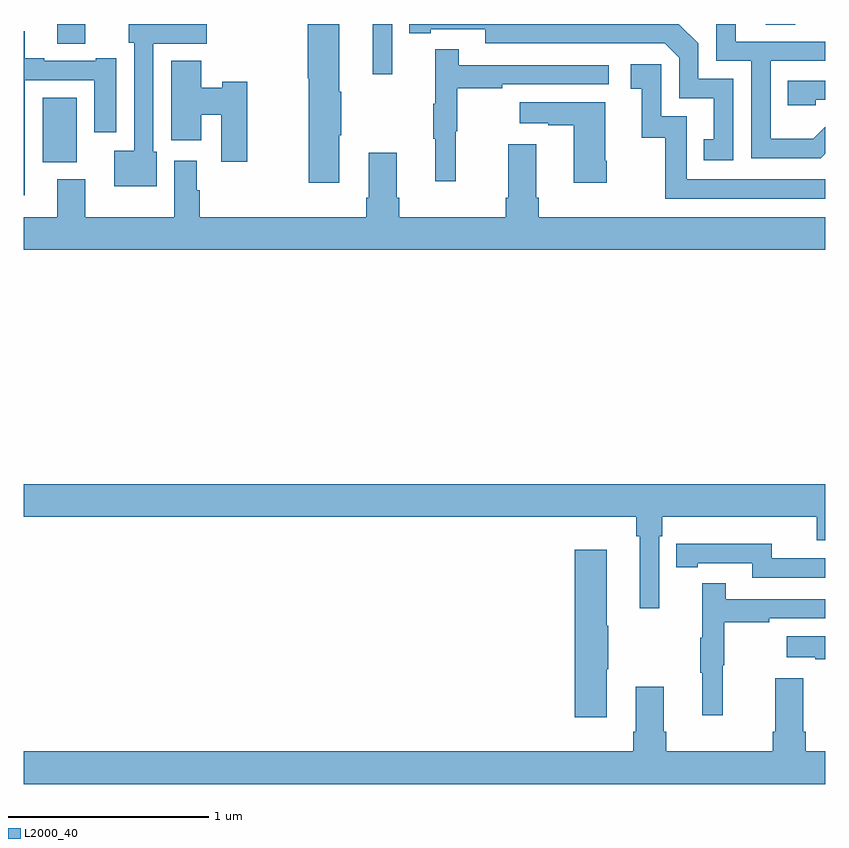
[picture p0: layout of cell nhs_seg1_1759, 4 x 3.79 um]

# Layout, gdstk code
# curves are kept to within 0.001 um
import gdstk
lib = gdstk.Library(unit=1e-6, precision=1e-09)
def R(c, l, rs):  # rectangles x0, y0, x1, y1
    for r in rs: c.add(gdstk.rectangle(r[:2], r[2:], *l))
def P(c, l, *ps):  # polygons
    for p in ps: c.add(gdstk.Polygon(p, *l))
L2000_40 = (2000, 40)

nhs_seg1_1759 = lib.new_cell('nhs_seg1_1759')
R(nhs_seg1_1759, L2000_40, [(207.095,545.51,207.265,545.83), (208.742,545.949,208.839,546.199), (207.167,546.1,207.307,546.199), (210.701,546.196,210.849,546.199)])
P(nhs_seg1_1759, L2000_40, [(207.664,545.562),(207.648,545.562),(207.648,546.101),(207.913,546.101),(207.913,546.199),(207.524,546.199),(207.524,546.105),(207.552,546.105),(207.552,545.566),(207.452,545.566),(207.452,545.39),(207.664,545.39)],
  [(211,545.553),(211,545.686),(210.94,545.626),(210.726,545.626),(210.726,546.015),(211,546.015),(211,546.111),(210.553,546.111),(210.553,546.199),(210.456,546.199),(210.456,546.015),(210.63,546.015),(210.63,545.529),(210.976,545.529)],
  [(208.576,545.644),(208.584,545.644),(208.584,545.861),(208.576,545.861),(208.576,546.199),(208.418,546.199),(208.418,545.928),(208.423,545.928),(208.423,545.406),(208.576,545.406)],
  [(210.54,545.925),(210.366,545.925),(210.366,546.102),(210.269,546.199),(208.924,546.199),(208.924,546.154),(209.032,546.154),(209.032,546.174),(209.304,546.174),(209.304,546.102),(210.198,546.102),(210.27,546.03),(210.27,545.829),(210.443,545.829),(210.443,545.625),(210.394,545.625),(210.394,545.52),(210.54,545.52)],
  [(207.006,545.919),(207.353,545.919),(207.353,545.658),(207.463,545.658),(207.463,546.028),(207.359,546.028),(207.359,546.015),(207.103,546.015),(207.103,546.028),(207.007,546.028),(207.007,546.163),(207,546.163),(207,545.346),(207.006,545.346)],
  [(209.156,545.664),(209.164,545.664),(209.164,545.878),(209.387,545.878),(209.387,545.898),(209.92,545.898),(209.92,545.994),(209.171,545.994),(209.171,546.073),(209.054,546.073),(209.054,545.801),(209.043,545.801),(209.043,545.627),(209.054,545.627),(209.054,545.415),(209.156,545.415)],
  [(208.116,545.912),(207.99,545.912),(207.99,545.881),(207.886,545.881),(207.886,546.016),(207.737,546.016),(207.737,545.619),(207.886,545.619),(207.886,545.747),(207.986,545.747),(207.986,545.511),(208.116,545.511)],
  [(211,545.424),(210.309,545.424),(210.309,545.739),(210.18,545.739),(210.18,545.998),(210.03,545.998),(210.03,545.877),(210.083,545.877),(210.083,545.631),(210.201,545.631),(210.201,545.328),(211,545.328)],
  [(210.951,545.82),(211,545.82),(211,545.916),(210.811,545.916),(210.811,545.793),(210.951,545.793)],
  [(209.91,545.518),(209.902,545.518),(209.902,545.809),(209.475,545.809),(209.475,545.705),(209.618,545.705),(209.618,545.695),(209.744,545.695),(209.744,545.406),(209.91,545.406)],
  [(211,545.236),(209.57,545.236),(209.57,545.332),(209.557,545.332),(209.557,545.599),(209.417,545.599),(209.417,545.332),(209.405,545.332),(209.405,545.236),(208.874,545.236),(208.874,545.332),(208.861,545.332),(208.861,545.557),(208.721,545.557),(208.721,545.332),(208.709,545.332),(208.709,545.236),(207.878,545.236),(207.878,545.369),(207.865,545.369),(207.865,545.518),(207.752,545.518),(207.752,545.236),(207.307,545.236),(207.307,545.425),(207.167,545.425),(207.167,545.236),(207,545.236),(207,545.072),(211,545.072)],
  [(210.171,543.644),(210.185,543.644),(210.185,543.74),(210.956,543.74),(210.956,543.623),(211,543.623),(211,543.904),(207,543.904),(207,543.74),(210.055,543.74),(210.055,543.644),(210.074,543.644),(210.074,543.285),(210.171,543.285)],
  [(211,543.534),(210.732,543.534),(210.732,543.607),(210.364,543.607),(210.364,543.606),(210.256,543.606),(210.256,543.49),(210.364,543.49),(210.364,543.51),(210.636,543.51),(210.636,543.438),(211,543.438)],
  [(209.908,542.98),(209.916,542.98),(209.916,543.197),(209.908,543.197),(209.908,543.577),(209.75,543.577),(209.75,542.742),(209.908,542.742)],
  [(210.488,543),(210.496,543),(210.496,543.214),(210.719,543.214),(210.719,543.234),(211,543.234),(211,543.33),(210.503,543.33),(210.503,543.409),(210.386,543.409),(210.386,543.137),(210.375,543.137),(210.375,542.963),(210.386,542.963),(210.386,542.751),(210.488,542.751)],
  [(211,543.145),(210.807,543.145),(210.807,543.041),(210.95,543.041),(210.95,543.031),(211,543.031)],
  [(211,542.572),(210.902,542.572),(210.902,542.668),(210.889,542.668),(210.889,542.935),(210.749,542.935),(210.749,542.668),(210.737,542.668),(210.737,542.572),(210.206,542.572),(210.206,542.668),(210.193,542.668),(210.193,542.893),(210.053,542.893),(210.053,542.668),(210.041,542.668),(210.041,542.572),(207,542.572),(207,542.408),(211,542.408)])

lib.write_gds('nhs_seg1_1759.gds')
